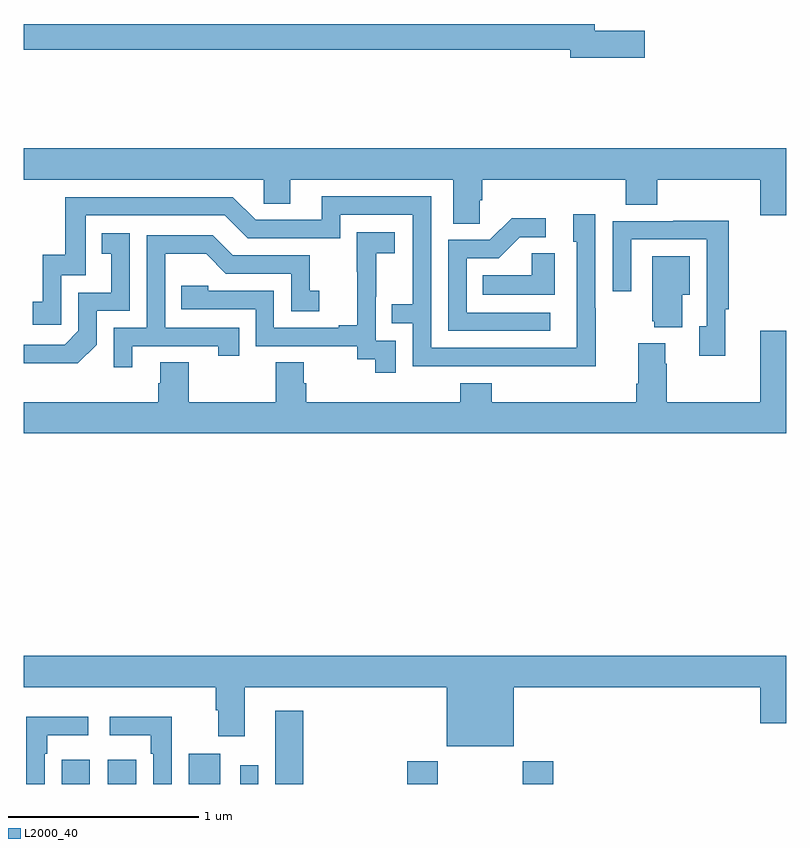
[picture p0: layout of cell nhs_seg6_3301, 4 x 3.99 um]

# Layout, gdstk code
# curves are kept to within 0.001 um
import gdstk
lib = gdstk.Library(unit=1e-6, precision=1e-09)
def R(c, l, rs):  # rectangles x0, y0, x1, y1
    for r in rs: c.add(gdstk.rectangle(r[:2], r[2:], *l))
def P(c, l, *ps):  # polygons
    for p in ps: c.add(gdstk.Polygon(p, *l))
L2000_40 = (2000, 40)

nhs_seg6_3301 = lib.new_cell('nhs_seg6_3301')
R(nhs_seg6_3301, L2000_40, [(305.198,941.5,305.347,941.626), (305.441,941.5,305.59,941.626), (305.864,941.5,306.031,941.659), (306.135,941.5,306.231,941.599), (306.32,941.5,306.467,941.884), (307.013,941.5,307.173,941.62), (307.618,941.5,307.778,941.62)])
P(nhs_seg6_3301, L2000_40, [(308.257,945.452),(307.996,945.452),(307.996,945.488),(305,945.488),(305,945.352),(307.868,945.352),(307.868,945.31),(308.257,945.31)],
  [(307.392,944.563),(307.406,944.563),(307.406,944.672),(308.159,944.672),(308.159,944.539),(308.324,944.539),(308.324,944.672),(308.864,944.672),(308.864,944.484),(309,944.484),(309,944.836),(305,944.836),(305,944.672),(306.258,944.672),(306.258,944.545),(306.397,944.545),(306.397,944.672),(307.253,944.672),(307.253,944.44),(307.392,944.44)],
  [(308.001,943.997),(307.998,943.997),(307.998,944.491),(307.883,944.491),(307.883,944.346),(307.902,944.346),(307.902,943.788),(307.137,943.788),(307.137,944.583),(306.563,944.583),(306.563,944.46),(306.216,944.46),(306.096,944.58),(305.217,944.58),(305.217,944.278),(305.099,944.278),(305.099,944.031),(305.046,944.031),(305.046,943.911),(305.196,943.911),(305.196,944.169),(305.325,944.169),(305.325,944.484),(306.054,944.484),(306.174,944.364),(306.66,944.364),(306.66,944.487),(307.041,944.487),(307.041,944.018),(306.931,944.018),(306.931,943.917),(307.041,943.917),(307.041,943.692),(308.001,943.691)],
  [(307.762,943.974),(307.323,943.974),(307.323,944.259),(307.492,944.259),(307.603,944.37),(307.738,944.37),(307.738,944.468),(307.559,944.468),(307.446,944.355),(307.227,944.355),(307.227,943.878),(307.762,943.878)],
  [(308.681,943.99),(308.699,943.99),(308.699,944.456),(308.407,944.456),(308.407,944.454),(308.091,944.454),(308.091,944.085),(308.187,944.085),(308.187,944.358),(308.583,944.358),(308.583,943.902),(308.543,943.902),(308.543,943.746),(308.681,943.746)],
  [(306.951,943.827),(306.846,943.827),(306.846,944.057),(306.848,944.057),(306.848,944.285),(306.946,944.285),(306.946,944.395),(306.748,944.395),(306.748,944.189),(306.749,944.189),(306.749,943.906),(306.653,943.906),(306.653,943.893),(306.312,943.893),(306.312,944.088),(305.967,944.088),(305.967,944.115),(305.827,944.115),(305.827,943.992),(306.216,943.992),(306.216,943.797),(306.75,943.797),(306.75,943.729),(306.843,943.729),(306.843,943.659),(306.951,943.659)],
  [(305.382,943.806),(305.382,943.983),(305.556,943.983),(305.556,944.389),(305.41,944.389),(305.41,944.283),(305.459,944.283),(305.459,944.079),(305.286,944.079),(305.286,943.878),(305.214,943.806),(305,943.806),(305,943.709),(305.284,943.709)],
  [(305.569,943.797),(306.02,943.797),(306.02,943.746),(306.131,943.746),(306.131,943.893),(305.742,943.893),(305.742,944.282),(305.956,944.282),(306.06,944.178),(306.402,944.178),(306.402,943.98),(306.55,943.98),(306.55,944.089),(306.501,944.089),(306.501,944.274),(306.097,944.274),(305.992,944.379),(305.646,944.379),(305.646,943.893),(305.472,943.893),(305.472,943.686),(305.569,943.686)],
  [(307.786,944.285),(307.665,944.285),(307.665,944.17),(307.408,944.17),(307.408,944.066),(307.786,944.066)],
  [(308.455,944.066),(308.494,944.066),(308.494,944.269),(308.297,944.269),(308.297,943.929),(308.309,943.929),(308.309,943.898),(308.455,943.898)],
  [(309,943.879),(308.864,943.879),(308.864,943.504),(308.373,943.504),(308.373,943.706),(308.365,943.706),(308.365,943.813),(308.225,943.813),(308.225,943.6),(308.213,943.6),(308.213,943.504),(307.454,943.504),(307.454,943.603),(307.289,943.603),(307.289,943.504),(306.482,943.504),(306.482,943.602),(306.469,943.602),(306.469,943.712),(306.322,943.712),(306.322,943.504),(305.865,943.504),(305.865,943.712),(305.717,943.712),(305.717,943.602),(305.705,943.602),(305.705,943.504),(305,943.504),(305,943.34),(309,943.34)],
  [(307.57,942.008),(308.864,942.008),(308.864,941.82),(309,941.82),(309,942.172),(305,942.172),(305,942.008),(306.008,942.008),(306.008,941.888),(306.02,941.888),(306.02,941.751),(306.16,941.751),(306.16,942.008),(307.22,942.008),(307.22,941.699),(307.57,941.699)],
  [(305.109,941.66),(305.122,941.66),(305.122,941.756),(305.338,941.756),(305.338,941.854),(305.013,941.854),(305.013,941.5),(305.109,941.5)],
  [(305.775,941.854),(305.451,941.854),(305.451,941.756),(305.667,941.756),(305.667,941.66),(305.679,941.66),(305.679,941.5),(305.775,941.5)])

lib.write_gds('nhs_seg6_3301.gds')
